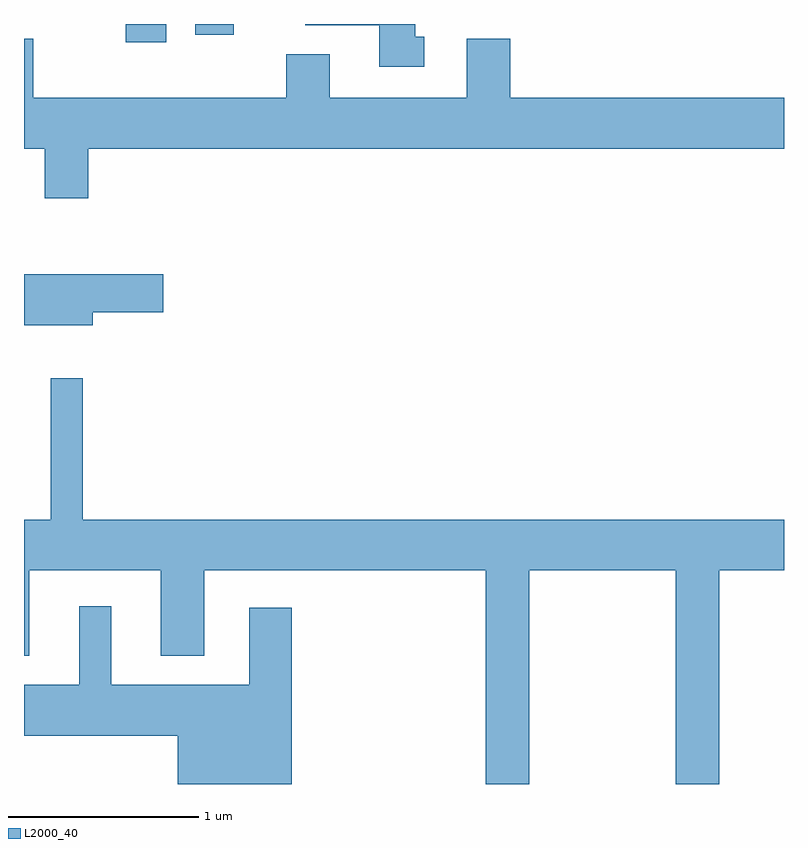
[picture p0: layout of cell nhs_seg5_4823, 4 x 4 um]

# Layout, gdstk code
import gdstk
lib = gdstk.Library(unit=1e-6, precision=1e-09)
def R(c, l, rs):  # rectangles x0, y0, x1, y1
    for r in rs: c.add(gdstk.rectangle(r[:2], r[2:], *l))
def P(c, l, *ps):  # polygons
    for p in ps: c.add(gdstk.Polygon(p, *l))
L2000_40 = (2000, 40)

nhs_seg5_4823 = lib.new_cell('nhs_seg5_4823')
R(nhs_seg5_4823, L2000_40, [(328.146,1503.976,328.359,1504.072), (328.511,1504.016,328.714,1504.072)])
P(nhs_seg5_4823, L2000_40, [(329.718,1504.004),(329.669,1504.004),(329.669,1504.072),(329.091,1504.072),(329.091,1504.066),(329.481,1504.066),(329.481,1503.846),(329.718,1503.846)],
  [(327.949,1503.416),(331.611,1503.416),(331.611,1503.684),(330.169,1503.684),(330.169,1503.994),(329.941,1503.994),(329.941,1503.684),(329.219,1503.684),(329.219,1503.914),(328.991,1503.914),(328.991,1503.684),(327.659,1503.684),(327.659,1503.994),(327.611,1503.994),(327.611,1503.416),(327.721,1503.416),(327.721,1503.156),(327.949,1503.156)],
  [(327.974,1502.556),(328.344,1502.556),(328.344,1502.754),(327.611,1502.754),(327.611,1502.486),(327.974,1502.486)],
  [(330.269,1501.196),(331.041,1501.196),(331.041,1500.072),(331.269,1500.072),(331.269,1501.196),(331.611,1501.196),(331.611,1501.464),(327.919,1501.464),(327.919,1502.208),(327.751,1502.208),(327.751,1501.464),(327.611,1501.464),(327.611,1500.746),(327.639,1500.746),(327.639,1501.196),(328.331,1501.196),(328.331,1500.746),(328.559,1500.746),(328.559,1501.196),(330.041,1501.196),(330.041,1500.072),(330.269,1500.072)],
  [(329.019,1500.999),(328.796,1500.999),(328.796,1500.594),(328.069,1500.594),(328.069,1501.008),(327.901,1501.008),(327.901,1500.594),(327.611,1500.594),(327.611,1500.326),(328.421,1500.326),(328.421,1500.072),(329.019,1500.072)])

lib.write_gds('nhs_seg5_4823.gds')
